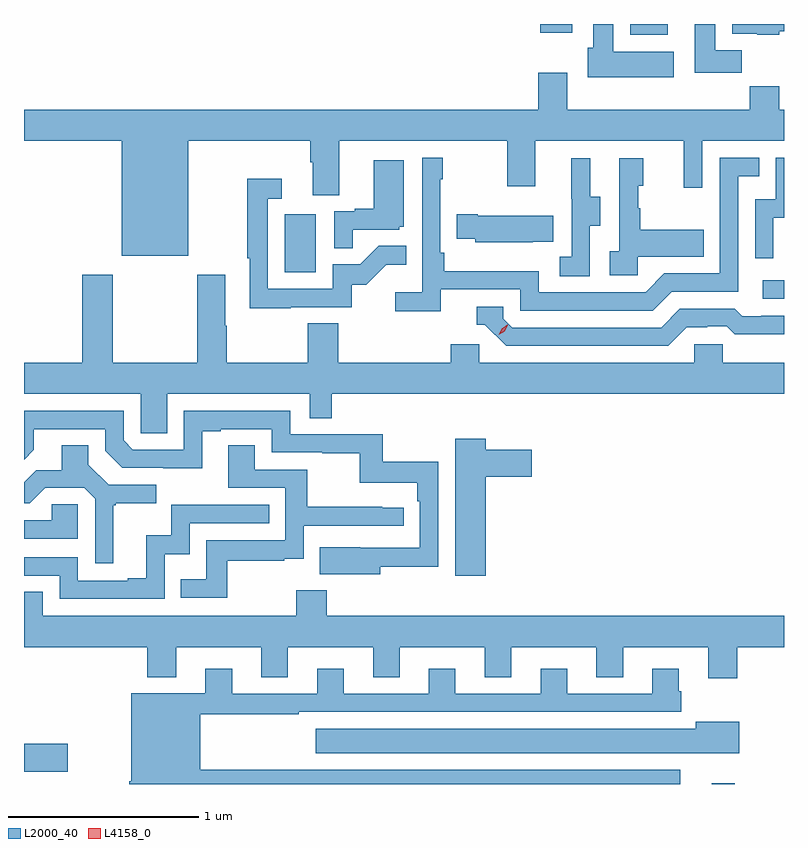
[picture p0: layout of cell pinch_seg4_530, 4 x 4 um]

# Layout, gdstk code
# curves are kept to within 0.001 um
import gdstk
lib = gdstk.Library(unit=1e-6, precision=1e-09)
def R(c, l, rs):  # rectangles x0, y0, x1, y1
    for r in rs: c.add(gdstk.rectangle(r[:2], r[2:], *l))
def P(c, l, *ps):  # polygons
    for p in ps: c.add(gdstk.Polygon(p, *l))
L2000_40 = (2000, 40)
L4158_0 = (4158, 0)

pinch_seg4_530 = lib.new_cell('pinch_seg4_530')
R(pinch_seg4_530, L2000_40, [(1082.429,770.791,1082.551,770.794), (1078.81,770.855,1079.041,771.002), (1082.697,773.346,1082.81,773.442), (1080.182,773.484,1080.346,773.791), (1082.001,774.734,1082.197,774.791), (1081.526,774.744,1081.696,774.791)])
P(pinch_seg4_530, L2000_40, [(1082.23,774.646),(1081.912,774.646),(1081.912,774.791),(1081.805,774.791),(1081.805,774.666),(1081.778,774.666),(1081.778,774.512),(1082.23,774.512)],
  [(1082.784,774.752),(1082.81,774.752),(1082.81,774.791),(1082.537,774.791),(1082.537,774.74),(1082.67,774.74),(1082.67,774.734),(1082.784,774.734)],
  [(1082.588,774.652),(1082.449,774.652),(1082.449,774.791),(1082.339,774.791),(1082.339,774.534),(1082.588,774.534)],
  [(1079.674,774.176),(1080.317,774.176),(1080.317,774.064),(1080.329,774.064),(1080.329,773.89),(1080.469,773.89),(1080.469,774.176),(1081.354,774.176),(1081.354,773.937),(1081.501,773.937),(1081.501,774.176),(1082.282,774.176),(1082.282,773.928),(1082.379,773.928),(1082.379,774.176),(1082.81,774.176),(1082.81,774.34),(1082.786,774.34),(1082.786,774.464),(1082.629,774.464),(1082.629,774.34),(1081.669,774.34),(1081.669,774.535),(1081.517,774.535),(1081.517,774.34),(1078.81,774.34),(1078.81,774.176),(1079.324,774.176),(1079.324,773.57),(1079.674,773.57)],
  [(1081.004,773.394),(1081.422,773.394),(1081.422,773.283),(1082.119,773.283),(1082.218,773.382),(1082.568,773.382),(1082.568,773.991),(1082.681,773.991),(1082.681,774.087),(1082.472,774.087),(1082.472,773.478),(1082.181,773.478),(1082.082,773.379),(1081.518,773.379),(1081.518,773.491),(1081.022,773.491),(1081.022,773.587),(1081.002,773.587),(1081.002,773.975),(1081.015,773.975),(1081.015,774.088),(1080.906,774.088),(1080.906,773.38),(1080.765,773.38),(1080.765,773.278),(1081.004,773.278)],
  [(1082.754,773.771),(1082.81,773.771),(1082.81,774.087),(1082.766,774.087),(1082.766,773.868),(1082.658,773.868),(1082.658,773.559),(1082.754,773.559)],
  [(1081.788,773.728),(1081.843,773.728),(1081.843,773.883),(1081.789,773.883),(1081.789,774.085),(1081.691,774.085),(1081.691,773.871),(1081.692,773.871),(1081.692,773.567),(1081.629,773.567),(1081.629,773.464),(1081.788,773.464)],
  [(1082.04,773.567),(1082.387,773.567),(1082.387,773.707),(1082.053,773.707),(1082.053,773.822),(1082.043,773.822),(1082.043,773.94),(1082.068,773.94),(1082.068,774.085),(1081.944,774.085),(1081.944,773.594),(1081.893,773.594),(1081.893,773.469),(1082.04,773.469)],
  [(1080.539,773.709),(1080.786,773.709),(1080.786,773.724),(1080.808,773.724),(1080.808,774.073),(1080.65,774.073),(1080.65,773.818),(1080.551,773.818),(1080.551,773.805),(1080.444,773.805),(1080.444,773.611),(1080.539,773.611)],
  [(1080.215,773.301),(1080.534,773.301),(1080.534,773.418),(1080.61,773.418),(1080.717,773.525),(1080.821,773.525),(1080.821,773.624),(1080.677,773.624),(1080.579,773.526),(1080.435,773.526),(1080.435,773.397),(1080.093,773.397),(1080.093,773.871),(1080.166,773.871),(1080.166,773.977),(1079.985,773.977),(1079.985,773.557),(1079.997,773.557),(1079.997,773.296),(1080.215,773.296)],
  [(1081.487,773.645),(1081.595,773.645),(1081.595,773.782),(1081.198,773.782),(1081.198,773.79),(1081.087,773.79),(1081.087,773.66),(1081.185,773.66),(1081.185,773.642),(1081.487,773.642)],
  [(1079.563,772.844),(1080.315,772.844),(1080.315,772.717),(1080.431,772.717),(1080.431,772.844),(1082.81,772.844),(1082.81,773.008),(1082.487,773.008),(1082.487,773.106),(1082.337,773.106),(1082.337,773.008),(1081.206,773.008),(1081.206,773.106),(1081.055,773.106),(1081.055,773.008),(1080.464,773.008),(1080.464,773.216),(1080.304,773.216),(1080.304,773.008),(1079.877,773.008),(1079.877,773.204),(1079.869,773.204),(1079.869,773.47),(1079.722,773.47),(1079.722,773.008),(1079.277,773.008),(1079.277,773.47),(1079.117,773.47),(1079.117,773.008),(1078.81,773.008),(1078.81,772.844),(1079.424,772.844),(1079.424,772.636),(1079.563,772.636)],
  [(1082.299,773.196),(1082.406,773.196),(1082.406,773.199),(1082.509,773.199),(1082.551,773.157),(1082.784,773.157),(1082.784,773.159),(1082.81,773.159),(1082.81,773.256),(1082.689,773.256),(1082.689,773.253),(1082.59,773.253),(1082.551,773.292),(1082.262,773.292),(1082.163,773.193),(1081.38,773.193),(1081.332,773.241),(1081.332,773.304),(1081.193,773.304),(1081.193,773.208),(1081.236,773.208),(1081.347,773.097),(1082.2,773.097)],
  [(1080.685,771.934),(1080.99,771.934),(1080.99,772.486),(1080.697,772.486),(1080.697,772.632),(1080.21,772.632),(1080.21,772.755),(1079.652,772.755),(1079.652,772.551),(1079.382,772.551),(1079.334,772.599),(1079.334,772.755),(1078.81,772.755),(1078.81,772.498),(1078.861,772.549),(1078.861,772.659),(1079.238,772.659),(1079.238,772.545),(1079.328,772.455),(1079.749,772.454),(1079.749,772.647),(1079.845,772.647),(1079.845,772.659),(1080.114,772.659),(1080.114,772.536),(1080.379,772.536),(1080.379,772.531),(1080.576,772.531),(1080.576,772.376),(1080.881,772.376),(1080.881,772.28),(1080.894,772.28),(1080.894,772.035),(1080.367,772.036),(1080.367,771.896),(1080.685,771.896)],
  [(1081.24,772.409),(1081.483,772.409),(1081.483,772.551),(1081.24,772.551),(1081.24,772.609),(1081.079,772.609),(1081.079,771.888),(1081.24,771.888)],
  [(1079.281,772.257),(1079.293,772.257),(1079.293,772.268),(1079.506,772.268),(1079.506,772.365),(1079.256,772.365),(1079.149,772.472),(1079.149,772.574),(1079.009,772.574),(1079.009,772.442),(1078.874,772.442),(1078.81,772.378),(1078.81,772.269),(1078.84,772.269),(1078.921,772.35),(1079.127,772.35),(1079.184,772.293),(1079.184,771.954),(1079.281,771.954)],
  [(1079.881,771.966),(1080.179,771.966),(1080.179,771.977),(1080.282,771.977),(1080.282,772.149),(1080.808,772.149),(1080.808,772.245),(1080.695,772.245),(1080.695,772.25),(1080.302,772.25),(1080.302,772.446),(1080.025,772.446),(1080.025,772.574),(1079.885,772.574),(1079.885,772.35),(1080.186,772.35),(1080.186,772.074),(1079.77,772.074),(1079.77,771.868),(1079.635,771.868),(1079.635,771.771),(1079.881,771.771)],
  [(1079.094,772.263),(1078.957,772.263),(1078.957,772.179),(1078.81,772.179),(1078.81,772.083),(1079.094,772.083)],
  [(1079.55,772.001),(1079.682,772.001),(1079.682,772.164),(1080.101,772.164),(1080.101,772.26),(1079.586,772.26),(1079.586,772.099),(1079.453,772.099),(1079.453,771.874),(1079.357,771.874),(1079.357,771.861),(1079.094,771.861),(1079.094,771.984),(1078.81,771.984),(1078.81,771.888),(1078.998,771.888),(1078.998,771.765),(1079.55,771.765)],
  [(1080.404,771.811),(1080.244,771.811),(1080.244,771.676),(1078.908,771.676),(1078.908,771.803),(1078.812,771.803),(1078.812,771.676),(1078.81,771.676),(1078.81,771.512),(1079.459,771.512),(1079.459,771.353),(1079.611,771.353),(1079.611,771.512),(1080.059,771.512),(1080.059,771.352),(1080.199,771.352),(1080.199,771.512),(1080.647,771.512),(1080.647,771.352),(1080.787,771.352),(1080.787,771.512),(1081.235,771.512),(1081.235,771.352),(1081.375,771.352),(1081.375,771.512),(1081.823,771.512),(1081.823,771.352),(1081.963,771.352),(1081.963,771.512),(1082.411,771.512),(1082.411,771.348),(1082.564,771.348),(1082.564,771.512),(1082.81,771.512),(1082.81,771.676),(1080.404,771.676)],
  [(1082.263,770.866),(1079.737,770.866),(1079.737,771.159),(1080.257,771.159),(1080.257,771.171),(1082.27,771.171),(1082.27,771.279),(1082.257,771.279),(1082.257,771.397),(1082.117,771.397),(1082.117,771.267),(1081.669,771.267),(1081.669,771.397),(1081.529,771.397),(1081.529,771.267),(1081.081,771.267),(1081.081,771.397),(1080.941,771.397),(1080.941,771.267),(1080.493,771.267),(1080.493,771.397),(1080.353,771.397),(1080.353,771.267),(1079.905,771.267),(1079.905,771.397),(1079.765,771.397),(1079.765,771.268),(1079.375,771.268),(1079.375,770.806),(1079.363,770.806),(1079.363,770.791),(1082.263,770.791)],
  [(1082.575,771.118),(1082.345,771.118),(1082.345,771.082),(1080.345,771.082),(1080.345,770.954),(1082.575,770.954)])
P(pinch_seg4_530, L4158_0, [(1081.309,773.155),(1081.309,773.155),(1081.324,773.188),(1081.354,773.208),(1081.355,773.208),(1081.355,773.208),(1081.339,773.175),(1081.309,773.155)])

lib.write_gds('pinch_seg4_530.gds')
